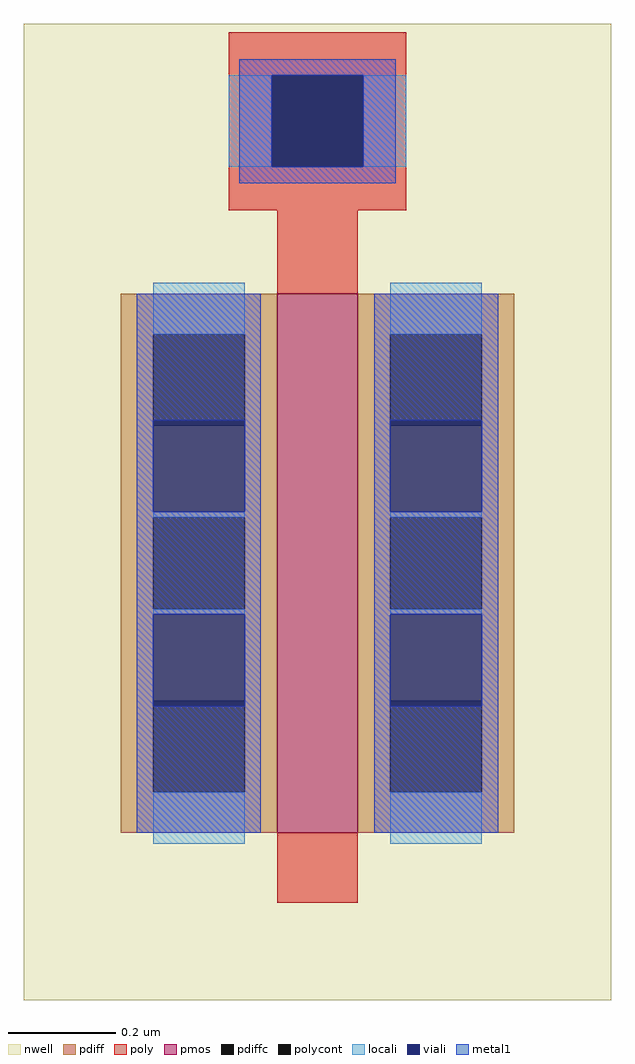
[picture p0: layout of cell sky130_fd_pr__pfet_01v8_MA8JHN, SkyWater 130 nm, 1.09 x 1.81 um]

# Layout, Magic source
magic
tech sky130A
magscale 1 2
<< nwell >>
rect -109 -198 109 164
<< pmos >>
rect -15 -136 15 64
<< pdiff >>
rect -73 49 -15 64
rect -73 15 -61 49
rect -27 15 -15 49
rect -73 -19 -15 15
rect -73 -53 -61 -19
rect -27 -53 -15 -19
rect -73 -87 -15 -53
rect -73 -121 -61 -87
rect -27 -121 -15 -87
rect -73 -136 -15 -121
rect 15 49 73 64
rect 15 15 27 49
rect 61 15 73 49
rect 15 -19 73 15
rect 15 -53 27 -19
rect 61 -53 73 -19
rect 15 -87 73 -53
rect 15 -121 27 -87
rect 61 -121 73 -87
rect 15 -136 73 -121
<< pdiffc >>
rect -61 15 -27 49
rect -61 -53 -27 -19
rect -61 -121 -27 -87
rect 27 15 61 49
rect 27 -53 61 -19
rect 27 -121 61 -87
<< poly >>
rect -33 145 33 161
rect -33 111 -17 145
rect 17 111 33 145
rect -33 95 33 111
rect -15 64 15 95
rect -15 -162 15 -136
<< polycont >>
rect -17 111 17 145
<< locali >>
rect -33 111 -17 145
rect 17 111 33 145
rect -61 49 -27 68
rect -61 -19 -27 -17
rect -61 -55 -27 -53
rect -61 -140 -27 -121
rect 27 49 61 68
rect 27 -19 61 -17
rect 27 -55 61 -53
rect 27 -140 61 -121
<< viali >>
rect -17 111 17 145
rect -61 15 -27 17
rect -61 -17 -27 15
rect -61 -87 -27 -55
rect -61 -89 -27 -87
rect 27 15 61 17
rect 27 -17 61 15
rect 27 -87 61 -55
rect 27 -89 61 -87
<< metal1 >>
rect -29 145 29 151
rect -29 111 -17 145
rect 17 111 29 145
rect -29 105 29 111
rect -67 17 -21 64
rect -67 -17 -61 17
rect -27 -17 -21 17
rect -67 -55 -21 -17
rect -67 -89 -61 -55
rect -27 -89 -21 -55
rect -67 -136 -21 -89
rect 21 17 67 64
rect 21 -17 27 17
rect 61 -17 67 17
rect 21 -55 67 -17
rect 21 -89 27 -55
rect 61 -89 67 -55
rect 21 -136 67 -89
<< end >>
